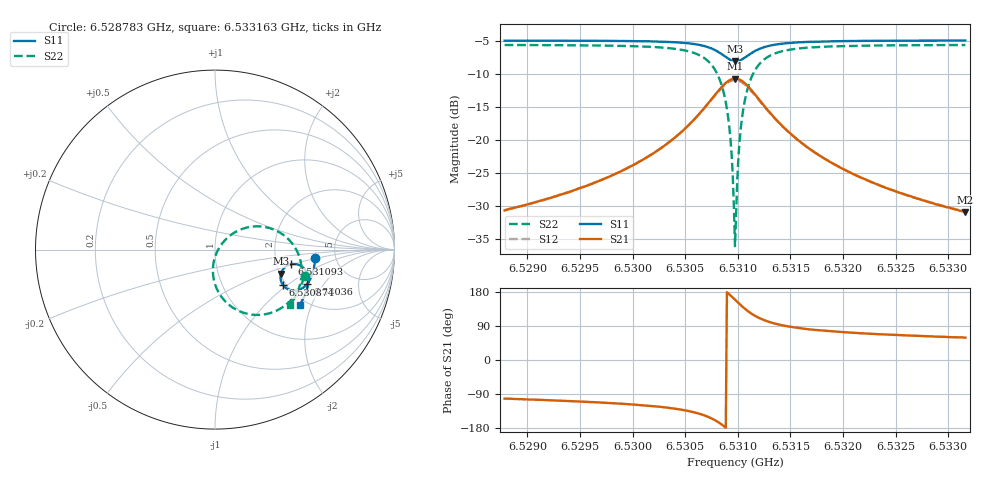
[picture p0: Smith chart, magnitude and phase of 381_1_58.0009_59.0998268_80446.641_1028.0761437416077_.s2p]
#  HZ  S  RI  R  50.00
! Rohde & Schwarz Vector Network Analyzer
! Rohde-Schwarz,ZNB20-2Port,1311601062101988,3.16
! Created: UTC 3/21/2024, 1:07:19 AM
! freq[Hz]  re:S11  im:S11  re:S21  im:S21  re:S12  im:S12  re:S22  im:S22
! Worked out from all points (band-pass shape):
!   401 points, 6.528783 GHz to 6.533163 GHz, reference 50 ohm
!   highest |S21| = -10.73 dB at 6.530973 GHz (marker M1); lowest = -30.9 dB at 6.533163 GHz (marker M2)
!   |S21| within 3 dB of the highest: 6.530756 GHz to 6.531193 GHz (437.3 kHz wide, 0.0067 % of centre)
!   lowest |S11| = -8.2 dB at 6.530973 GHz (marker M3), VSWR 2.29, Z = 101 - j31.9 ohm
!   |S11| at or under -10 dB: nowhere
!   |S22| runs from -36.0 to -5.7 dB; largest |S21 - S12| = 0.011
!   S11 on the Smith chart (normalised r, x): 6.528783 GHz: 3.49, -0.47; 6.53036 GHz: 2.57, -1.40; 6.530874 GHz: 1.93, -0.94; 6.531093 GHz: 2.42, -0.48; 6.533163 GHz: 1.82, -1.65
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6.528783e9  0.5594 -0.0461  -0.00603 -0.0288  -0.00659 -0.0288  0.499 -0.1492
6.5295166e9  0.5502 -0.1064  -0.0148 -0.0414  -0.0157 -0.0409  0.4704 -0.216
6.5302502e9  0.5233 -0.1772  -0.0464 -0.0708  -0.0483 -0.0697  0.3935 -0.3086
6.5303597e9  0.5145 -0.19  -0.0588 -0.0786  -0.0609 -0.0769  0.3675 -0.3266
6.5305567e9  0.4883 -0.2144  -0.0978 -0.0937  -0.1005 -0.0904  0.2899 -0.358
6.53071e9  0.4485 -0.2285  -0.1595 -0.095  -0.1616 -0.0887  0.1765 -0.3569
6.5308086e9  0.4084 -0.2216  -0.222 -0.0673  -0.2211 -0.0585  0.0711 -0.3014
6.5308742e9  0.3799 -0.1985  -0.2638 -0.018  -0.2591 -0.00877  0.00711 -0.2118
6.530918e9  0.3673 -0.1725  -0.2797 0.0321  -0.2719 0.0397  -0.0116 -0.126
6.530929e9  0.3657 -0.1651  -0.2809 0.046  -0.2725 0.053  -0.0115 -0.1025
6.5309618e9  0.3659 -0.1412  -0.2762 0.0895  -0.2664 0.0939  0.00341 -0.0317
6.5309728e9  0.3678 -0.1333  -0.2715 0.1038  -0.2618 0.1072  0.0129 -0.00913
6.5309837e9  0.3704 -0.1259  -0.2658 0.1174  -0.2558 0.1201  0.0247 0.0124
6.5309947e9  0.3739 -0.1185  -0.2585 0.1303  -0.2488 0.1322  0.0386 0.0325
6.5310166e9  0.3829 -0.1056  -0.2407 0.1536  -0.2315 0.1538  0.0713 0.0679
6.5310385e9  0.3942 -0.0949  -0.2197 0.1722  -0.2113 0.1711  0.1088 0.0953
6.5310932e9  0.4259 -0.0811  -0.162 0.1976  -0.1564 0.1948  0.2087 0.1283
6.5311699e9  0.465 -0.0844  -0.0935 0.1958  -0.0906 0.1932  0.3239 0.113
6.5312793e9  0.4978 -0.1071  -0.0357 0.1656  -0.0343 0.1642  0.4181 0.0484
6.5317063e9  0.5196 -0.1832  0.0143 0.0818  0.0151 0.0816  0.4833 -0.1294
6.5324399e9  0.4994 -0.2556  0.0166 0.039  0.0175 0.039  0.4556 -0.2451
6.5331625e9  0.4715 -0.3086  0.0147 0.0245  0.0153 0.0243  0.4202 -0.3071
